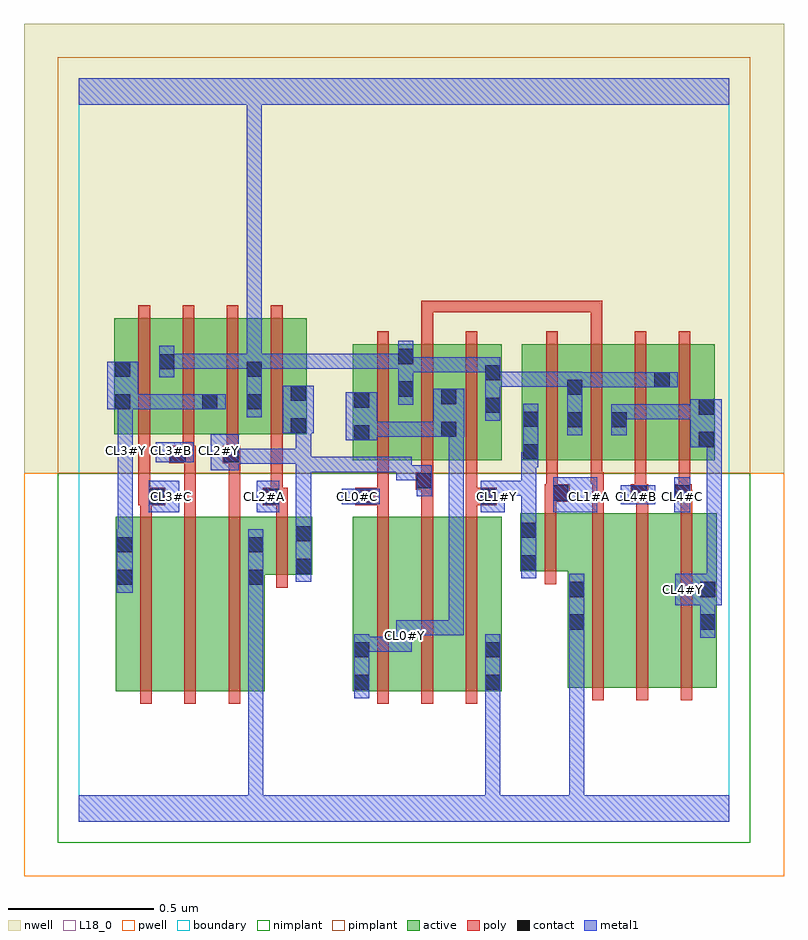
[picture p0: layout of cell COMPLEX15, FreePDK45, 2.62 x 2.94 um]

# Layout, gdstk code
import gdstk
lib = gdstk.Library(unit=1e-6, precision=1e-09)
def R(c, l, rs):  # rectangles x0, y0, x1, y1
    for r in rs: c.add(gdstk.rectangle(r[:2], r[2:], *l))
def A(c, l, x, y, w, h, nx, ny, dx, dy):  # array of equal rectangles
    R(c, l, [(x+i*dx, y+j*dy, x+i*dx+w, y+j*dy+h) for i in range(nx) for j in range(ny)])
active = (1, 0)
pwell = (2, 0)
nwell = (3, 0)
nimplant = (4, 0)
pimplant = (5, 0)
poly = (9, 0)
contact = (10, 0)
metal1 = (11, 0)
L18_0 = (18, 0)
boundary = (235, 0)

complex15 = lib.new_cell('COMPLEX15')
R(complex15, active, [(0.128,0.45,0.308,1.05), (0.308,0.45,0.46,1.05), (0.46,0.45,0.64,1.05), (0.58,0.45,0.64,1.05), (0.944,0.45,1.124,1.05), (0.944,0.45,1.004,1.05), (1.124,0.45,1.276,1.05), (1.276,0.45,1.456,1.05), (1.396,0.45,1.456,1.05), (1.684,0.462,1.864,1.062), (1.684,0.462,1.744,0.984), (1.864,0.462,2.016,1.062), (2.016,0.462,2.196,1.062), (0.128,0.556,0.188,1.05), (2.136,0.556,2.196,1.062), (0.58,0.85,0.804,1.05), (0.744,0.85,0.804,1.05), (1.52,0.862,1.744,1.062), (1.52,0.862,1.58,1.062), (0.944,1.244,1.004,1.644), (0.944,1.244,1.156,1.644), (1.096,1.244,1.156,1.644), (1.096,1.244,1.304,1.644), (1.244,1.244,1.304,1.644), (1.244,1.244,1.456,1.644), (1.396,1.244,1.456,1.644), (1.526,1.244,1.586,1.644), (1.526,1.244,1.738,1.644), (1.678,1.244,1.89,1.644), (1.83,1.244,2.038,1.644), (1.978,1.244,2.19,1.644), (2.13,1.244,2.19,1.644), (0.122,1.334,0.182,1.734), (0.122,1.334,0.334,1.734), (0.274,1.334,0.482,1.734), (0.422,1.334,0.634,1.734), (0.574,1.334,0.786,1.734), (0.726,1.334,0.786,1.644), (1.678,1.354,1.738,1.644), (1.83,1.354,1.89,1.644), (0.422,1.416,0.482,1.644), (0.574,1.416,0.634,1.734), (1.978,1.45,2.038,1.644), (0.274,1.472,0.334,1.734)])
R(complex15, pwell, [(-0.188,-0.188,2.428,1.2)])
R(complex15, nwell, [(-0.188,1.2,2.428,2.748)])
R(complex15, nimplant, [(-0.072,-0.072,2.312,1.2)])
R(complex15, pimplant, [(-0.072,1.2,2.312,2.632)])
A(complex15, poly, 0.212, 0.406, 0.04, 0.688, 3, 1, 0.152, 0)
A(complex15, poly, 1.028, 0.406, 0.04, 0.688, 3, 1, 0.152, 0)
A(complex15, poly, 1.768, 0.418, 0.04, 0.688, 3, 1, 0.152, 0)
A(complex15, poly, 1.028, 1.2, 0.04, 0.488, 3, 1, 0.152, 0)
A(complex15, poly, 1.61, 1.2, 0.04, 0.488, 4, 1, 0.152, 0)
A(complex15, poly, 0.206, 1.29, 0.04, 0.488, 4, 1, 0.152, 0)
R(complex15, poly, [(0.68,0.806,0.72,1.094), (1.604,0.818,1.644,1.106), (0.212,1.054,0.252,1.13), (0.364,1.054,0.404,1.274), (0.516,1.054,0.556,1.274), (0.68,1.054,0.72,1.13), (1.028,1.054,1.068,1.13), (1.18,1.054,1.22,1.184), (1.332,1.054,1.372,1.13), (1.604,1.066,1.644,1.142), (1.768,1.066,1.808,1.204), (1.92,1.066,1.96,1.142), (2.072,1.066,2.112,1.142), (0.206,1.09,0.298,1.15), (0.634,1.09,0.72,1.15), (0.952,1.09,1.068,1.15), (1.332,1.09,1.44,1.15), (1.604,1.102,1.69,1.162), (1.9,1.102,1.96,1.162), (1.92,1.102,1.96,1.142), (1.92,1.102,1.96,1.142), (2.05,1.102,2.11,1.162), (2.07,1.102,2.11,1.142), (2.07,1.102,2.112,1.142), (0.206,1.11,0.246,1.15), (0.206,1.11,0.246,1.15), (0.206,1.11,0.246,1.33), (0.662,1.11,0.702,1.15), (0.662,1.11,0.702,1.15), (0.662,1.11,0.702,1.33), (1.028,1.11,1.068,1.15), (1.028,1.11,1.068,1.15), (1.028,1.11,1.068,1.24), (1.332,1.11,1.372,1.15), (1.332,1.11,1.372,1.15), (1.332,1.11,1.372,1.24), (1.61,1.122,1.65,1.24), (1.61,1.122,1.65,1.162), (1.61,1.122,1.65,1.162), (1.914,1.122,1.954,1.24), (2.066,1.122,2.106,1.24), (1.16,1.144,1.22,1.204), (1.18,1.144,1.22,1.184), (1.18,1.144,1.22,1.184), (1.18,1.164,1.22,1.24), (1.762,1.164,1.802,1.24), (1.762,1.164,1.808,1.204), (1.768,1.164,1.808,1.204), (1.768,1.164,1.808,1.204), (0.312,1.234,0.404,1.294), (0.364,1.234,0.404,1.274), (0.364,1.234,0.404,1.274), (0.496,1.234,0.556,1.294), (0.516,1.234,0.556,1.274), (0.516,1.234,0.556,1.274), (0.358,1.254,0.398,1.33), (0.51,1.254,0.55,1.33), (1.18,1.648,1.22,1.794), (1.762,1.648,1.802,1.794), (1.18,1.754,1.22,1.794), (1.18,1.754,1.22,1.794), (1.18,1.754,1.22,1.794), (1.18,1.754,1.478,1.794), (1.438,1.754,1.478,1.794), (1.438,1.754,1.478,1.794), (1.438,1.754,1.478,1.794), (1.438,1.754,1.584,1.794), (1.544,1.754,1.584,1.794), (1.544,1.754,1.584,1.794), (1.544,1.754,1.584,1.794), (1.544,1.754,1.802,1.794), (1.762,1.754,1.802,1.794), (1.762,1.754,1.802,1.794), (1.762,1.754,1.802,1.794)])
R(complex15, contact, [(0.948,0.454,1,0.506), (1.4,0.454,1.452,0.506), (0.948,0.566,1,0.618), (1.4,0.566,1.452,0.618), (1.688,0.662,1.74,0.714), (2.14,0.662,2.192,0.714), (1.688,0.774,1.74,0.826), (2.14,0.774,2.192,0.826), (0.132,0.816,0.184,0.868), (0.584,0.816,0.636,0.868), (0.748,0.854,0.8,0.906), (1.524,0.866,1.576,0.918), (0.132,0.928,0.184,0.98), (0.584,0.928,0.636,0.98), (0.748,0.966,0.8,1.018), (1.524,0.978,1.576,1.03), (0.242,1.094,0.294,1.146), (0.638,1.094,0.69,1.146), (0.956,1.094,1.008,1.146), (1.384,1.094,1.436,1.146), (1.634,1.106,1.686,1.158), (1.904,1.106,1.956,1.158), (2.054,1.106,2.106,1.158), (1.164,1.148,1.216,1.2), (0.316,1.238,0.368,1.29), (0.5,1.238,0.552,1.29), (1.53,1.248,1.582,1.3), (2.134,1.29,2.186,1.342), (0.948,1.314,1,1.366), (1.248,1.326,1.3,1.378), (0.73,1.338,0.782,1.39), (1.682,1.358,1.734,1.41), (1.834,1.358,1.886,1.41), (1.53,1.36,1.582,1.412), (2.134,1.402,2.186,1.454), (1.4,1.408,1.452,1.46), (0.126,1.42,0.178,1.472), (0.426,1.42,0.478,1.472), (0.578,1.42,0.63,1.472), (0.948,1.426,1,1.478), (1.248,1.438,1.3,1.49), (0.73,1.45,0.782,1.502), (1.1,1.464,1.152,1.516), (1.682,1.47,1.734,1.522), (1.982,1.496,2.034,1.548), (1.4,1.52,1.452,1.572), (0.126,1.532,0.178,1.584), (0.578,1.532,0.63,1.584), (0.278,1.558,0.33,1.61), (1.1,1.576,1.152,1.628)])
R(complex15, metal1, [(0,0,2.24,0.092), (0.584,0.04,0.636,0.092), (0.584,0.04,0.636,0.092), (0.584,0.04,0.636,0.092), (0.584,0.04,0.636,0.092), (0.584,0.04,0.636,0.092), (0.584,0.04,0.636,0.092), (0.584,0.04,0.636,0.092), (0.584,0.04,0.636,0.092), (0.584,0.04,0.636,0.84), (1.4,0.04,1.452,0.092), (1.4,0.04,1.452,0.092), (1.4,0.04,1.452,0.478), (1.688,0.04,1.74,0.092), (1.688,0.04,1.74,0.092), (1.688,0.04,1.74,0.092), (1.688,0.04,1.74,0.092), (1.688,0.04,1.74,0.092), (1.688,0.04,1.74,0.092), (1.688,0.04,1.74,0.686), (0.948,0.426,1,0.646), (1.4,0.426,1.452,0.478), (1.4,0.426,1.452,0.478), (1.4,0.426,1.452,0.478), (1.4,0.426,1.452,0.478), (1.4,0.426,1.452,0.478), (1.4,0.426,1.452,0.478), (1.4,0.426,1.452,0.646), (0.948,0.586,1,0.638), (0.948,0.586,1,0.638), (0.948,0.586,1.146,0.638), (1.094,0.586,1.146,0.638), (1.094,0.586,1.146,0.638), (1.094,0.586,1.146,0.694), (1.688,0.634,1.74,0.686), (1.688,0.634,1.74,0.686), (1.688,0.634,1.74,0.854), (2.14,0.634,2.192,0.854), (1.094,0.642,1.326,0.694), (1.274,0.642,1.326,0.694), (1.274,0.642,1.326,0.694), (1.274,0.642,1.326,0.694), (1.274,0.642,1.326,1.378), (2.054,0.746,2.214,0.854), (0.132,0.788,0.186,1.008), (0.584,0.788,0.636,1.008), (2.14,0.802,2.192,0.854), (2.162,0.802,2.214,1.342), (0.748,0.826,0.8,1.046), (1.524,0.838,1.576,1.058), (0.134,0.956,0.186,1.278), (0.748,0.994,0.8,1.256), (1.524,1.006,1.576,1.174), (0.242,1.066,0.346,1.174), (0.614,1.066,0.69,1.174), (1.384,1.066,1.466,1.174), (1.634,1.066,1.786,1.186), (2.05,1.066,2.106,1.186), (0.906,1.094,1.036,1.146), (1.866,1.094,1.984,1.158), (1.164,1.12,1.216,1.228), (1.414,1.122,1.466,1.174), (1.414,1.122,1.466,1.174), (1.414,1.122,1.576,1.174), (1.524,1.122,1.576,1.174), (1.524,1.122,1.576,1.272), (1.094,1.176,1.216,1.228), (1.094,1.176,1.146,1.256), (0.748,1.204,0.8,1.256), (0.748,1.204,0.8,1.256), (0.748,1.204,0.92,1.256), (0.748,1.204,0.8,1.284), (0.868,1.204,0.92,1.256), (0.868,1.204,0.92,1.256), (0.868,1.204,0.92,1.256), (0.868,1.204,1.146,1.256), (0.454,1.21,0.552,1.334), (1.524,1.22,1.582,1.272), (1.53,1.22,1.582,1.272), (1.53,1.22,1.582,1.44), (0.134,1.226,0.186,1.334), (0.5,1.232,0.552,1.284), (0.5,1.232,0.552,1.284), (0.5,1.232,0.8,1.284), (0.748,1.232,0.8,1.284), (0.748,1.232,0.8,1.284), (0.748,1.232,0.8,1.39), (0.266,1.238,0.396,1.306), (0.134,1.282,0.186,1.334), (0.134,1.282,0.186,1.334), (0.134,1.282,0.186,1.472), (2.106,1.29,2.214,1.454), (2.162,1.29,2.214,1.342), (2.162,1.29,2.214,1.342), (0.92,1.314,1.028,1.478), (0.976,1.326,1.028,1.378), (0.976,1.326,1.028,1.378), (0.976,1.326,1.162,1.378), (1.11,1.326,1.162,1.378), (1.11,1.326,1.272,1.378), (1.22,1.326,1.272,1.378), (1.22,1.326,1.272,1.378), (1.22,1.326,1.328,1.49), (1.274,1.326,1.326,1.378), (1.274,1.326,1.326,1.378), (1.682,1.33,1.734,1.55), (1.834,1.33,1.886,1.438), (0.702,1.338,0.81,1.502), (1.4,1.38,1.452,1.6), (1.834,1.386,1.886,1.438), (1.834,1.386,1.886,1.438), (1.834,1.386,1.996,1.438), (1.944,1.386,1.996,1.438), (1.944,1.386,2.158,1.438), (2.106,1.386,2.158,1.438), (2.106,1.386,2.158,1.438), (0.578,1.392,0.63,1.612), (0.098,1.42,0.206,1.584), (0.154,1.42,0.206,1.472), (0.154,1.42,0.206,1.472), (0.154,1.42,0.33,1.472), (0.278,1.42,0.33,1.472), (0.278,1.42,0.33,1.472), (0.278,1.42,0.33,1.472), (0.278,1.42,0.45,1.472), (0.398,1.42,0.506,1.472), (1.1,1.436,1.152,1.656), (1.682,1.496,1.734,1.548), (1.682,1.496,1.734,1.548), (1.682,1.496,1.886,1.548), (1.834,1.496,1.886,1.548), (1.834,1.496,1.992,1.548), (1.94,1.496,1.992,1.548), (1.94,1.496,2.006,1.548), (1.954,1.496,2.062,1.548), (1.4,1.498,1.624,1.55), (1.572,1.498,1.624,1.55), (1.572,1.498,1.624,1.55), (1.572,1.498,1.624,1.55), (1.572,1.498,1.734,1.55), (0.278,1.53,0.33,1.638), (1.1,1.548,1.152,1.6), (1.1,1.548,1.152,1.6), (1.1,1.548,1.272,1.6), (1.22,1.548,1.272,1.6), (1.22,1.548,1.452,1.6), (1.4,1.548,1.452,1.6), (1.4,1.548,1.452,1.6), (0.278,1.56,0.33,1.612), (0.278,1.56,0.33,1.612), (0.278,1.56,0.44,1.612), (0.388,1.56,0.44,1.612), (0.388,1.56,0.44,1.612), (0.388,1.56,0.44,1.612), (0.388,1.56,0.63,1.612), (0.578,1.56,0.74,1.612), (0.578,1.56,0.63,2.52), (0.688,1.56,0.74,1.612), (0.688,1.56,0.74,1.612), (0.688,1.56,0.74,1.612), (0.688,1.56,0.92,1.612), (0.868,1.56,0.92,1.612), (0.868,1.56,0.92,1.612), (0.868,1.56,0.92,1.612), (0.868,1.56,1.152,1.612), (0,2.468,2.24,2.56), (0.578,2.468,0.63,2.52), (0.578,2.468,0.63,2.52), (0.578,2.468,0.63,2.52), (0.578,2.468,0.63,2.52), (0.578,2.468,0.63,2.52), (0.578,2.468,0.63,2.52), (0.578,2.468,0.63,2.52), (0.578,2.468,0.63,2.52), (0.578,2.468,0.63,2.52), (0.578,2.468,0.63,2.52), (0.578,2.468,0.63,2.52), (0.578,2.468,0.63,2.52), (0.578,2.468,0.63,2.52), (0.578,2.468,0.63,2.52), (0.578,2.468,0.63,2.52), (0.578,2.468,0.63,2.52)])
A(complex15, L18_0, 0.294, 1.094, 0.052, 0.052, 3, 1, 0.32, 0)
A(complex15, L18_0, 1.734, 1.094, 0.052, 0.052, 3, 1, 0.16, 0)
A(complex15, L18_0, 0.134, 1.254, 0.052, 0.052, 3, 1, 0.16, 0)
R(complex15, L18_0, [(0,0,2.24,0.092), (0.584,0.04,0.636,0.092), (0.584,0.04,0.636,0.092), (0.584,0.04,0.636,0.092), (0.584,0.04,0.636,0.092), (0.584,0.04,0.636,0.092), (0.584,0.04,0.636,0.092), (0.584,0.04,0.636,0.092), (0.584,0.04,0.636,0.092), (0.584,0.04,0.636,0.84), (1.4,0.04,1.452,0.092), (1.4,0.04,1.452,0.092), (1.4,0.04,1.452,0.478), (1.688,0.04,1.74,0.092), (1.688,0.04,1.74,0.092), (1.688,0.04,1.74,0.092), (1.688,0.04,1.74,0.092), (1.688,0.04,1.74,0.092), (1.688,0.04,1.74,0.092), (1.688,0.04,1.74,0.686), (0.948,0.426,1,0.646), (1.4,0.426,1.452,0.478), (1.4,0.426,1.452,0.478), (1.4,0.426,1.452,0.478), (1.4,0.426,1.452,0.478), (1.4,0.426,1.452,0.478), (1.4,0.426,1.452,0.478), (1.4,0.426,1.452,0.646), (0.948,0.586,1,0.638), (0.948,0.586,1,0.638), (0.948,0.586,1.146,0.638), (1.094,0.586,1.146,0.694), (1.094,0.586,1.146,0.638), (1.094,0.586,1.146,0.638), (1.094,0.614,1.146,0.666), (1.688,0.634,1.74,0.686), (1.688,0.634,1.74,0.686), (1.688,0.634,1.74,0.854), (2.14,0.634,2.192,0.854), (1.094,0.642,1.326,0.694), (1.274,0.642,1.326,0.694), (1.274,0.642,1.326,0.694), (1.274,0.642,1.326,0.694), (1.274,0.642,1.326,1.378), (2.054,0.746,2.214,0.854), (2.054,0.774,2.106,0.826), (0.132,0.788,0.186,1.008), (0.584,0.788,0.636,1.008), (2.14,0.802,2.192,0.854), (2.162,0.802,2.214,1.342), (0.748,0.826,0.8,1.046), (1.524,0.838,1.576,1.058), (0.134,0.956,0.186,1.278), (0.748,0.994,0.8,1.256), (1.524,1.006,1.576,1.174), (0.242,1.066,0.346,1.174), (0.614,1.066,0.69,1.174), (1.384,1.066,1.466,1.174), (1.634,1.066,1.786,1.186), (2.05,1.066,2.106,1.186), (0.906,1.094,1.036,1.146), (1.414,1.094,1.466,1.146), (1.866,1.094,1.984,1.158), (1.164,1.12,1.216,1.228), (1.414,1.122,1.466,1.174), (1.414,1.122,1.466,1.174), (1.414,1.122,1.576,1.174), (1.524,1.122,1.576,1.174), (1.524,1.122,1.576,1.272), (1.094,1.176,1.146,1.256), (1.094,1.176,1.216,1.228), (0.748,1.204,0.8,1.256), (0.748,1.204,0.8,1.256), (0.748,1.204,0.92,1.256), (0.748,1.204,0.8,1.284), (0.868,1.204,0.92,1.256), (0.868,1.204,0.92,1.256), (0.868,1.204,0.92,1.256), (0.868,1.204,1.146,1.256), (0.454,1.21,0.552,1.334), (1.524,1.22,1.582,1.272), (1.53,1.22,1.582,1.272), (1.53,1.22,1.582,1.44), (0.134,1.226,0.186,1.334), (0.5,1.232,0.552,1.284), (0.5,1.232,0.552,1.284), (0.5,1.232,0.8,1.284), (0.748,1.232,0.8,1.284), (0.748,1.232,0.8,1.284), (0.748,1.232,0.8,1.39), (0.266,1.238,0.396,1.306), (0.134,1.282,0.186,1.334), (0.134,1.282,0.186,1.334), (0.134,1.282,0.186,1.472), (2.106,1.29,2.214,1.454), (2.162,1.29,2.214,1.342), (2.162,1.29,2.214,1.342), (0.92,1.314,1.028,1.478), (0.976,1.326,1.028,1.378), (0.976,1.326,1.028,1.378), (0.976,1.326,1.162,1.378), (1.11,1.326,1.162,1.378), (1.11,1.326,1.272,1.378), (1.22,1.326,1.272,1.378), (1.22,1.326,1.272,1.378), (1.22,1.326,1.328,1.49), (1.274,1.326,1.326,1.378), (1.274,1.326,1.326,1.378), (1.682,1.33,1.734,1.55), (1.834,1.33,1.886,1.438), (0.702,1.338,0.81,1.502), (1.4,1.38,1.452,1.6), (1.834,1.386,1.886,1.438), (1.834,1.386,1.886,1.438), (1.834,1.386,1.996,1.438), (1.944,1.386,1.996,1.438), (1.944,1.386,2.158,1.438), (2.106,1.386,2.158,1.438), (2.106,1.386,2.158,1.438), (0.578,1.392,0.63,1.612), (0.098,1.42,0.206,1.584), (0.154,1.42,0.206,1.472), (0.154,1.42,0.206,1.472), (0.154,1.42,0.33,1.472), (0.278,1.42,0.33,1.472), (0.278,1.42,0.33,1.472), (0.278,1.42,0.33,1.472), (0.278,1.42,0.45,1.472), (0.398,1.42,0.506,1.472), (1.1,1.436,1.152,1.656), (1.682,1.496,1.734,1.548), (1.682,1.496,1.734,1.548), (1.682,1.496,1.886,1.548), (1.834,1.496,1.886,1.548), (1.834,1.496,1.992,1.548), (1.94,1.496,1.992,1.548), (1.94,1.496,2.006,1.548), (1.954,1.496,2.062,1.548), (1.4,1.498,1.624,1.55), (1.572,1.498,1.624,1.55), (1.572,1.498,1.624,1.55), (1.572,1.498,1.624,1.55), (1.572,1.498,1.734,1.55), (0.278,1.53,0.33,1.638), (1.1,1.548,1.152,1.6), (1.1,1.548,1.152,1.6), (1.1,1.548,1.272,1.6), (1.22,1.548,1.272,1.6), (1.22,1.548,1.452,1.6), (1.4,1.548,1.452,1.6), (1.4,1.548,1.452,1.6), (0.278,1.56,0.33,1.612), (0.278,1.56,0.33,1.612), (0.278,1.56,0.44,1.612), (0.388,1.56,0.44,1.612), (0.388,1.56,0.44,1.612), (0.388,1.56,0.44,1.612), (0.388,1.56,0.63,1.612), (0.578,1.56,0.74,1.612), (0.578,1.56,0.63,2.52), (0.688,1.56,0.74,1.612), (0.688,1.56,0.74,1.612), (0.688,1.56,0.74,1.612), (0.688,1.56,0.92,1.612), (0.868,1.56,0.92,1.612), (0.868,1.56,0.92,1.612), (0.868,1.56,0.92,1.612), (0.868,1.56,1.152,1.612), (0,2.468,2.24,2.56), (0.578,2.468,0.63,2.52), (0.578,2.468,0.63,2.52), (0.578,2.468,0.63,2.52), (0.578,2.468,0.63,2.52), (0.578,2.468,0.63,2.52), (0.578,2.468,0.63,2.52), (0.578,2.468,0.63,2.52), (0.578,2.468,0.63,2.52), (0.578,2.468,0.63,2.52), (0.578,2.468,0.63,2.52), (0.578,2.468,0.63,2.52), (0.578,2.468,0.63,2.52), (0.578,2.468,0.63,2.52), (0.578,2.468,0.63,2.52), (0.578,2.468,0.63,2.52), (0.578,2.468,0.63,2.52)])
R(complex15, boundary, [(0,0,2.24,2.56)])
complex15.add(gdstk.Label('CL0#C', (0.96,1.12), layer=11, texttype=0))
complex15.add(gdstk.Label('CL0#Y', (1.12,0.64), layer=11, texttype=0))
complex15.add(gdstk.Label('CL1#A', (1.76,1.12), layer=11, texttype=0))
complex15.add(gdstk.Label('CL1#Y', (1.44,1.12), layer=11, texttype=0))
complex15.add(gdstk.Label('CL2#A', (0.64,1.12), layer=11, texttype=0))
complex15.add(gdstk.Label('CL2#Y', (0.48,1.28), layer=11, texttype=0))
complex15.add(gdstk.Label('CL3#B', (0.32,1.28), layer=11, texttype=0))
complex15.add(gdstk.Label('CL3#C', (0.32,1.12), layer=11, texttype=0))
complex15.add(gdstk.Label('CL3#Y', (0.16,1.28), layer=11, texttype=0))
complex15.add(gdstk.Label('CL4#B', (1.92,1.12), layer=11, texttype=0))
complex15.add(gdstk.Label('CL4#C', (2.08,1.12), layer=11, texttype=0))
complex15.add(gdstk.Label('CL4#Y', (2.08,0.8), layer=11, texttype=0))

lib.write_gds('COMPLEX15.gds')
